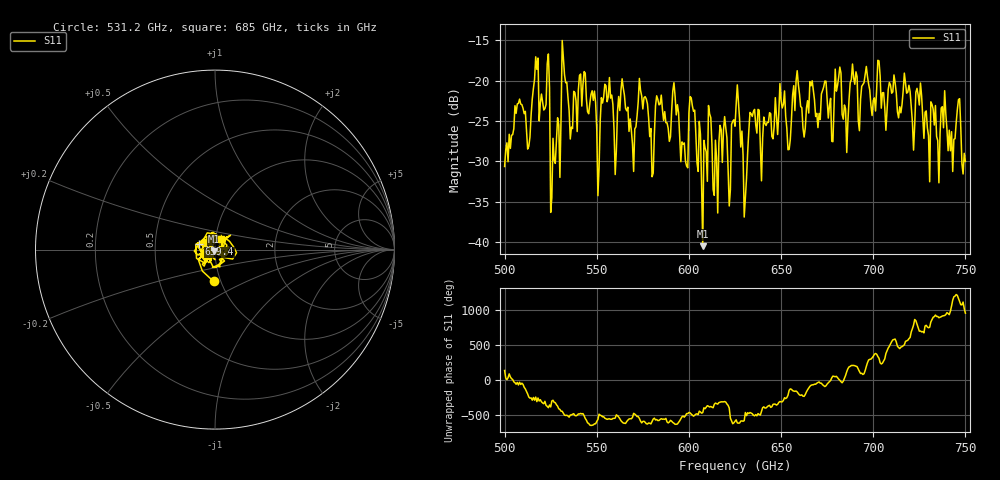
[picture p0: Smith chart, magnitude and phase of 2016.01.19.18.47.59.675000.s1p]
!Created with skrf (http://scikit-rf.org).
# GHz S RI R 50.0
!freq ReS11 ImS11
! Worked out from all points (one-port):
!   401 points, 500 GHz to 750 GHz, reference 50 ohm
!   lowest |S11| = -40.5 dB at 607.5 GHz (marker M1), VSWR 1.02, Z = 49.6 - j0.866 ohm
!   |S11| at or under -10 dB: start of sweep to end of sweep
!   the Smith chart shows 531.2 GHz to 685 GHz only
!   S11 on the Smith chart (normalised r, x): 531.2 GHz: 0.92, -0.34; 659.4 GHz: 0.83, +0.05; 685 GHz: 1.06, +0.13
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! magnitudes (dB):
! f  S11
! 500 GHz  -30.6
! 506.9 GHz  -22.9
! 513.1 GHz  -28.1
! 516.9 GHz  -17.0
! 523.1 GHz  -17.9
! 526.2 GHz  -27.1
! 531.2 GHz  -15.0
! 548.1 GHz  -22.4
! 550.6 GHz  -34.3
! 562.5 GHz  -23.7
! 580 GHz  -31.9
! 583.8 GHz  -23.0
! 593.8 GHz  -23.0
! 598.1 GHz  -30.0
! 601.9 GHz  -23.1
! 607.5 GHz  -40.5
! 621.9 GHz  -35.5
! 625 GHz  -25.6
! 630.6 GHz  -34.5
! 634.4 GHz  -24.4
! 656.2 GHz  -21.8
! 659.4 GHz  -20.5
! 685 GHz  -23.5
! 687.5 GHz  -20.3
! 718.8 GHz  -21.4
! 741.9 GHz  -28.7
! 746.2 GHz  -22.3
! 750 GHz  -30.0
